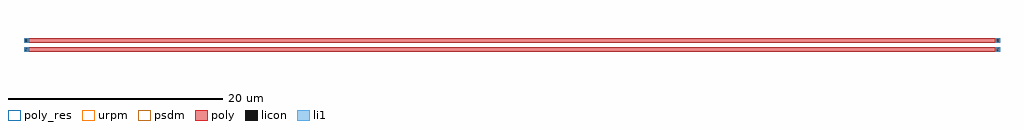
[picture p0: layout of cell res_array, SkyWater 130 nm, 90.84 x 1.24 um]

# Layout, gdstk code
import gdstk
lib = gdstk.Library(unit=1e-6, precision=1e-09)
def R(c, l, rs):  # rectangles x0, y0, x1, y1
    for r in rs: c.add(gdstk.rectangle(r[:2], r[2:], *l))
poly_res = (66, 13)
poly = (66, 20)
licon = (66, 44)
li1 = (67, 20)
urpm = (79, 20)
psdm = (94, 20)

res_array = lib.new_cell('res_array')
R(res_array, poly_res, [(0.42,0,90.42,0.42), (0.42,0.82,90.42,1.24)])
R(res_array, poly, [(0,0,90.84,0.42), (0,0.82,90.84,1.24)])
R(res_array, licon, [(0.1,0.1,0.32,0.32), (90.52,0.1,90.74,0.32), (0.1,0.92,0.32,1.14), (90.52,0.92,90.74,1.14)])
R(res_array, li1, [(0,0,0.42,0.42), (90.42,0,90.84,0.42), (0,0.82,0.42,1.24), (90.42,0.82,90.84,1.24)])
R(res_array, urpm, [(0.42,0,90.42,0.42), (0.42,0.82,90.42,1.24)])
R(res_array, psdm, [(0.42,0,90.42,0.42), (0.42,0.82,90.42,1.24)])

lib.write_gds('res_array.gds')
